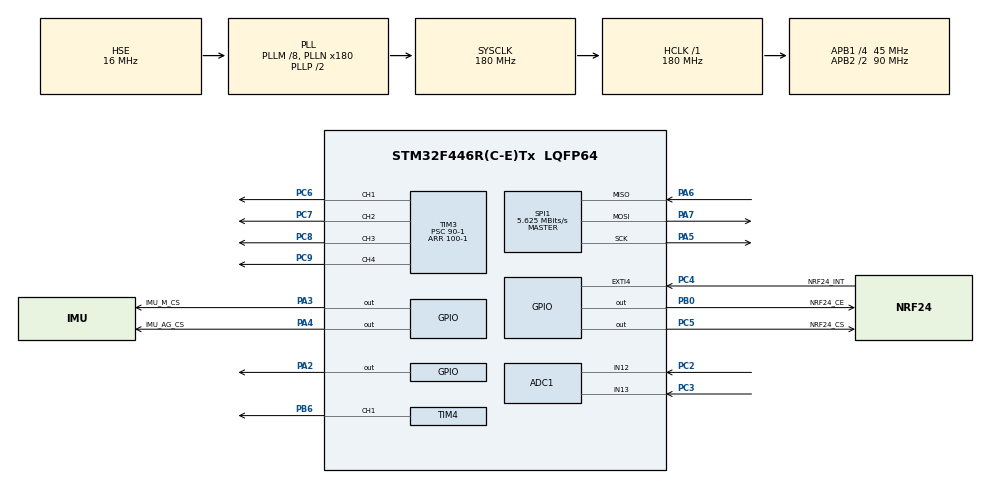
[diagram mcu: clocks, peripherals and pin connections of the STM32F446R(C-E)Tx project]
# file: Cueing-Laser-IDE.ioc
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ADC1.Channel-0\#ChannelRegularConversion=ADC_CHANNEL_12
ADC1.Channel-1\#ChannelRegularConversion=ADC_CHANNEL_13
ADC1.ContinuousConvMode=ENABLE
ADC1.DMAContinuousRequests=ENABLE
ADC1.NbrOfConversion=2
ADC1.NbrOfConversionFlag=1
ADC1.Rank-0\#ChannelRegularConversion=1
ADC1.Rank-1\#ChannelRegularConversion=2
ADC1.SamplingTime-0\#ChannelRegularConversion=ADC_SAMPLETIME_3CYCLES
ADC1.SamplingTime-1\#ChannelRegularConversion=ADC_SAMPLETIME_3CYCLES
ADC1.ScanConvMode=ENABLE
ADC1.master=1
Dma.ADC1.0.Direction=DMA_PERIPH_TO_MEMORY
Dma.ADC1.0.FIFOMode=DMA_FIFOMODE_DISABLE
Dma.ADC1.0.Instance=DMA2_Stream0
Dma.ADC1.0.MemDataAlignment=DMA_MDATAALIGN_WORD
Dma.ADC1.0.MemInc=DMA_MINC_ENABLE
Dma.ADC1.0.Mode=DMA_CIRCULAR
Dma.ADC1.0.PeriphDataAlignment=DMA_PDATAALIGN_WORD
Dma.ADC1.0.PeriphInc=DMA_PINC_DISABLE
Dma.ADC1.0.Priority=DMA_PRIORITY_VERY_HIGH
Dma.Request0=ADC1
Mcu.Family=STM32F4
Mcu.Name=STM32F446R(C-E)Tx
Mcu.Package=LQFP64
NVIC.DMA2_Stream0_IRQn=true\:0\:0\:false\:false\:true\:false\:true\:true
NVIC.PriorityGroup=NVIC_PRIORITYGROUP_0
NVIC.TIM2_IRQn=true\:0\:0\:false\:false\:true\:true\:true\:true
PA13.GPIO_Label=TMS
PA13.Mode=JTAG_5_pins
PA13.Signal=SYS_JTMS-SWDIO
PA14.GPIO_Label=TCK
PA14.Mode=JTAG_5_pins
PA14.Signal=SYS_JTCK-SWCLK
PA15.Mode=JTAG_5_pins
PA15.Signal=SYS_JTDI
PA2.Signal=GPIO_Output
PA3.GPIO_Label=IMU_M_CS
PA3.Signal=GPIO_Output
PA4.GPIO_Label=IMU_AG_CS
PA4.Signal=GPIO_Output
PA5.Mode=Full_Duplex_Master
PA5.Signal=SPI1_SCK
PA6.Mode=Full_Duplex_Master
PA6.Signal=SPI1_MISO
PA7.Mode=Full_Duplex_Master
PA7.Signal=SPI1_MOSI
PB0.GPIO_Label=NRF24_CE
PB0.GPIO_ModeDefaultOutputPP=GPIO_MODE_OUTPUT_PP
PB0.GPIO_PuPd=GPIO_PULLUP
PB0.Signal=GPIO_Output
PB3.GPIO_Label=SWO
PB3.Mode=JTAG_5_pins
PB3.Signal=SYS_JTDO-SWO
PB4.Mode=JTAG_5_pins
PB4.Signal=SYS_JTRST
PB6.Signal=S_TIM4_CH1
PC2.Signal=ADCx_IN12
PC3.Signal=ADCx_IN13
PC4.GPIO_Label=NRF24_INT
PC4.Signal=GPXTI4
PC5.GPIO_Label=NRF24_CS
PC5.Signal=GPIO_Output
PC6.Signal=S_TIM3_CH1
PC7.Signal=S_TIM3_CH2
PC8.Signal=S_TIM3_CH3
PC9.Signal=S_TIM3_CH4
PH0-OSC_IN.Mode=HSE-External-Oscillator
PH0-OSC_IN.Signal=RCC_OSC_IN
PH1-OSC_OUT.Mode=HSE-External-Oscillator
PH1-OSC_OUT.Signal=RCC_OSC_OUT
ProjectManager.HeapSize=0x200
ProjectManager.StackSize=0x400
ProjectManager.TargetToolchain=STM32CubeIDE
RCC.48MHZClocksFreq_Value=84000000
RCC.AHBFreq_Value=180000000
RCC.APB1CLKDivider=RCC_HCLK_DIV4
RCC.APB1Freq_Value=45000000
RCC.APB1TimFreq_Value=90000000
RCC.APB2CLKDivider=RCC_HCLK_DIV2
RCC.APB2Freq_Value=90000000
RCC.APB2TimFreq_Value=180000000
RCC.CortexFreq_Value=180000000
RCC.FLatency-AdvancedSettings=FLASH_LATENCY_5
RCC.HCLKFreq_Value=180000000
RCC.HSE_VALUE=16000000
RCC.HSI_VALUE=16000000
RCC.PLLM=8
RCC.PLLN=180
RCC.PLLQ=3
RCC.PLLSourceVirtual=RCC_PLLSOURCE_HSE
RCC.SYSCLKFreq_VALUE=180000000
RCC.SYSCLKSource=RCC_SYSCLKSOURCE_PLLCLK
RCC.USBFreq_Value=120000000
RCC.VCOOutputFreq_Value=360000000
SH.ADCx_IN12.0=ADC1_IN12,IN12
SH.ADCx_IN13.0=ADC1_IN13,IN13
SH.S_TIM3_CH1.0=TIM3_CH1,PWM Generation1 CH1
SH.S_TIM3_CH2.0=TIM3_CH2,PWM Generation2 CH2
SH.S_TIM3_CH3.0=TIM3_CH3,PWM Generation3 CH3
SH.S_TIM3_CH4.0=TIM3_CH4,PWM Generation4 CH4
SH.S_TIM4_CH1.0=TIM4_CH1,PWM Generation1 CH1
SPI1.BaudRatePrescaler=SPI_BAUDRATEPRESCALER_16
SPI1.CLKPhase=SPI_PHASE_2EDGE
SPI1.CLKPolarity=SPI_POLARITY_HIGH
SPI1.CalculateBaudRate=5.625 MBits/s
SPI1.Direction=SPI_DIRECTION_2LINES
SPI1.Mode=SPI_MODE_MASTER
SPI1.VirtualType=VM_MASTER
TIM2.Period=10000
TIM2.Prescaler=9000
TIM3.Channel-PWM\ Generation1\ CH1=TIM_CHANNEL_1
TIM3.Channel-PWM\ Generation2\ CH2=TIM_CHANNEL_2
TIM3.Channel-PWM\ Generation3\ CH3=TIM_CHANNEL_3
TIM3.Channel-PWM\ Generation4\ CH4=TIM_CHANNEL_4
TIM3.Period=100-1
TIM3.Prescaler=90-1
TIM4.Channel-PWM\ Generation1\ CH1=TIM_CHANNEL_1
TIM4.Period=200-1
TIM4.Prescaler=9000-1
VP_TIM2_VS_ClockSourceINT.Mode=Internal
VP_TIM3_VS_ClockSourceINT.Mode=Internal
VP_TIM4_VS_ClockSourceINT.Mode=Internal
board=NUCLEO-F446RE

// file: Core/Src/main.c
/* USER CODE BEGIN Header */
/**
  ******************************************************************************
  * @file           : main.c
  * @brief          : Main program body
  ******************************************************************************
  * @attention
  *
  * Copyright (c) 2024 STMicroelectronics.
  * All rights reserved.
  *
  * This software is licensed under terms that can be found in the LICENSE file
  * in the root directory of this software component.
  * If no LICENSE file comes with this software, it is provided AS-IS.
  *
  ******************************************************************************
  */
/* USER CODE END Header */
#include "main.h"

/* USER CODE BEGIN Includes */
#include "LSM9DS1.h"
#include "FIR_Filter.h"
#include "stdint.h"
#include "string.h"
#include "NRF24L01.h"
#include "Driver.h"
#include "Servo.h"
#include "kalman_filter.h"
/* USER CODE END Includes */

ADC_HandleTypeDef hadc1;
DMA_HandleTypeDef hdma_adc1;

SPI_HandleTypeDef hspi1;

TIM_HandleTypeDef htim2;
TIM_HandleTypeDef htim3;
TIM_HandleTypeDef htim4;

/* USER CODE BEGIN PV */
uint8_t who_am_i;
uint8_t reg;
uint32_t analog[2];
//gyro_accel_data_t data;
FIR_Filter low_pass_filter;
data_t pData;
float Accelerometer[3];
float GyroScope[3];
float MotionCapture[3];
float Filter_Data[3];
float Roll, Pitch;
float dt;
char buffer[30];
char Tx_Address[6] = {0xEE, 0xFE, 0xAE,0xBE, 0xCE, 0xDE};
uint32_t T0, T1;
uint8_t timeFoG;
int callib = 0;

/* USER CODE END PV */

void SystemClock_Config(void);
static void MX_GPIO_Init(void);
static void MX_DMA_Init(void);
static void MX_SPI1_Init(void);
static void MX_TIM3_Init(void);
static void MX_TIM4_Init(void);
static void MX_ADC1_Init(void);
static void MX_TIM2_Init(void);

/* USER CODE BEGIN 0 */

void HAL_ADC_ConvCpltCallback(ADC_HandleTypeDef* hadc)
{
  Laser_Brightness(MAX_BEAM);
//  Vibrator_Control(STRONG);
//  LSM9DS1_Read(&hspi1, &pData);
//  Vibrator_Control(STRONG);
  MotionCapture[0] = pData.Data_t.Ax;
  MotionCapture[1] = pData.Data_t.Ay;
  MotionCapture[2] = pData.Data_t.Az;

}

void HAL_TIM_PeriodElapsedCallback(TIM_HandleTypeDef *htim)
{
  if(htim->Instance == TIM2)
  {
    if(analog[0] < 1000)
    {
      timeFoG++;

      if(timeFoG >= 3 && timeFoG < 5 ) Vibrator_Control(WEAK);
      else if(timeFoG >= 5 && timeFoG < 8) Vibrator_Control(MEDIUM);
      else if (timeFoG >= 8) Vibrator_Control(STRONG);
    }
    else
    {
      Vibrator_Control(FOG_NOT_DETECTED);
      timeFoG = 0;
    }
  }
}
/* USER CODE END 0 */

int main(void)
{

  /* MCU Configuration--------------------------------------------------------*/

  /* Reset of all peripherals, Initializes the Flash interface and the Systick. */
  HAL_Init();

  /* Configure the system clock */
  SystemClock_Config();

  /* Initialize all configured peripherals */
  MX_GPIO_Init();
  MX_DMA_Init();
  MX_SPI1_Init();
  MX_TIM3_Init();
  MX_TIM4_Init();
  MX_ADC1_Init();
  MX_TIM2_Init();
  /* USER CODE BEGIN 2 */
  LSM9DS1_Init(&hspi1);
  HAL_TIM_Base_Start_IT(&htim2);
  HAL_ADC_Start_DMA(&hadc1, analog, 2);
  /* USER CODE END 2 */

  /* Infinite loop */
  while (1)
  {

  }
}

void SystemClock_Config(void)
{
  RCC_OscInitTypeDef RCC_OscInitStruct = {0};
  RCC_ClkInitTypeDef RCC_ClkInitStruct = {0};

  /** Configure the main internal regulator output voltage
  */
  __HAL_RCC_PWR_CLK_ENABLE();
  __HAL_PWR_VOLTAGESCALING_CONFIG(PWR_REGULATOR_VOLTAGE_SCALE1);

  /** Initializes the RCC Oscillators according to the specified parameters
  * in the RCC_OscInitTypeDef structure.
  */
  RCC_OscInitStruct.OscillatorType = RCC_OSCILLATORTYPE_HSE;
  RCC_OscInitStruct.HSEState = RCC_HSE_ON;
  RCC_OscInitStruct.PLL.PLLState = RCC_PLL_ON;
  RCC_OscInitStruct.PLL.PLLSource = RCC_PLLSOURCE_HSE;
  RCC_OscInitStruct.PLL.PLLM = 8;
  RCC_OscInitStruct.PLL.PLLN = 180;
  RCC_OscInitStruct.PLL.PLLP = RCC_PLLP_DIV2;
  RCC_OscInitStruct.PLL.PLLQ = 3;
  RCC_OscInitStruct.PLL.PLLR = 2;
  if (HAL_RCC_OscConfig(&RCC_OscInitStruct) != HAL_OK)
  {
    Error_Handler();
  }

  /** Activate the Over-Drive mode
  */
  if (HAL_PWREx_EnableOverDrive() != HAL_OK)
  {
    Error_Handler();
  }

  /** Initializes the CPU, AHB and APB buses clocks
  */
  RCC_ClkInitStruct.ClockType = RCC_CLOCKTYPE_HCLK|RCC_CLOCKTYPE_SYSCLK
                              |RCC_CLOCKTYPE_PCLK1|RCC_CLOCKTYPE_PCLK2;
  RCC_ClkInitStruct.SYSCLKSource = RCC_SYSCLKSOURCE_PLLCLK;
  RCC_ClkInitStruct.AHBCLKDivider = RCC_SYSCLK_DIV1;
  RCC_ClkInitStruct.APB1CLKDivider = RCC_HCLK_DIV4;
  RCC_ClkInitStruct.APB2CLKDivider = RCC_HCLK_DIV2;

  if (HAL_RCC_ClockConfig(&RCC_ClkInitStruct, FLASH_LATENCY_5) != HAL_OK)
  {
    Error_Handler();
  }
}

static void MX_ADC1_Init(void)
{

  ADC_ChannelConfTypeDef sConfig = {0};

  /** Configure the global features of the ADC (Clock, Resolution, Data Alignment and number of conversion)
  */
  hadc1.Instance = ADC1;
  hadc1.Init.ClockPrescaler = ADC_CLOCK_SYNC_PCLK_DIV4;
  hadc1.Init.Resolution = ADC_RESOLUTION_12B;
  hadc1.Init.ScanConvMode = ENABLE;
  hadc1.Init.ContinuousConvMode = ENABLE;
  hadc1.Init.DiscontinuousConvMode = DISABLE;
  hadc1.Init.ExternalTrigConvEdge = ADC_EXTERNALTRIGCONVEDGE_NONE;
  hadc1.Init.ExternalTrigConv = ADC_SOFTWARE_START;
  hadc1.Init.DataAlign = ADC_DATAALIGN_RIGHT;
  hadc1.Init.NbrOfConversion = 2;
  hadc1.Init.DMAContinuousRequests = ENABLE;
  hadc1.Init.EOCSelection = ADC_EOC_SINGLE_CONV;
  if (HAL_ADC_Init(&hadc1) != HAL_OK)
  {
    Error_Handler();
  }

  /** Configure for the selected ADC regular channel its corresponding rank in the sequencer and its sample time.
  */
  sConfig.Channel = ADC_CHANNEL_12;
  sConfig.Rank = 1;
  sConfig.SamplingTime = ADC_SAMPLETIME_3CYCLES;
  if (HAL_ADC_ConfigChannel(&hadc1, &sConfig) != HAL_OK)
  {
    Error_Handler();
  }

  /** Configure for the selected ADC regular channel its corresponding rank in the sequencer and its sample time.
  */
  sConfig.Channel = ADC_CHANNEL_13;
  sConfig.Rank = 2;
  if (HAL_ADC_ConfigChannel(&hadc1, &sConfig) != HAL_OK)
  {
    Error_Handler();
  }

}

static void MX_SPI1_Init(void)
{

  /* SPI1 parameter configuration*/
  hspi1.Instance = SPI1;
  hspi1.Init.Mode = SPI_MODE_MASTER;
  hspi1.Init.Direction = SPI_DIRECTION_2LINES;
  hspi1.Init.DataSize = SPI_DATASIZE_8BIT;
  hspi1.Init.CLKPolarity = SPI_POLARITY_HIGH;
  hspi1.Init.CLKPhase = SPI_PHASE_2EDGE;
  hspi1.Init.NSS = SPI_NSS_SOFT;
  hspi1.Init.BaudRatePrescaler = SPI_BAUDRATEPRESCALER_16;
  hspi1.Init.FirstBit = SPI_FIRSTBIT_MSB;
  hspi1.Init.TIMode = SPI_TIMODE_DISABLE;
  hspi1.Init.CRCCalculation = SPI_CRCCALCULATION_DISABLE;
  hspi1.Init.CRCPolynomial = 10;
  if (HAL_SPI_Init(&hspi1) != HAL_OK)
  {
    Error_Handler();
  }

}

static void MX_TIM2_Init(void)
{

  TIM_ClockConfigTypeDef sClockSourceConfig = {0};
  TIM_MasterConfigTypeDef sMasterConfig = {0};

  htim2.Instance = TIM2;
  htim2.Init.Prescaler = 9000;
  htim2.Init.CounterMode = TIM_COUNTERMODE_UP;
  htim2.Init.Period = 10000;
  htim2.Init.ClockDivision = TIM_CLOCKDIVISION_DIV1;
  htim2.Init.AutoReloadPreload = TIM_AUTORELOAD_PRELOAD_DISABLE;
  if (HAL_TIM_Base_Init(&htim2) != HAL_OK)
  {
    Error_Handler();
  }
  sClockSourceConfig.ClockSource = TIM_CLOCKSOURCE_INTERNAL;
  if (HAL_TIM_ConfigClockSource(&htim2, &sClockSourceConfig) != HAL_OK)
  {
    Error_Handler();
  }
  sMasterConfig.MasterOutputTrigger = TIM_TRGO_RESET;
  sMasterConfig.MasterSlaveMode = TIM_MASTERSLAVEMODE_DISABLE;
  if (HAL_TIMEx_MasterConfigSynchronization(&htim2, &sMasterConfig) != HAL_OK)
  {
    Error_Handler();
  }

}

static void MX_TIM3_Init(void)
{

  TIM_ClockConfigTypeDef sClockSourceConfig = {0};
  TIM_MasterConfigTypeDef sMasterConfig = {0};
  TIM_OC_InitTypeDef sConfigOC = {0};

  htim3.Instance = TIM3;
  htim3.Init.Prescaler = 90-1;
  htim3.Init.CounterMode = TIM_COUNTERMODE_UP;
  htim3.Init.Period = 100-1;
  htim3.Init.ClockDivision = TIM_CLOCKDIVISION_DIV1;
  htim3.Init.AutoReloadPreload = TIM_AUTORELOAD_PRELOAD_DISABLE;
  if (HAL_TIM_Base_Init(&htim3) != HAL_OK)
  {
    Error_Handler();
  }
  sClockSourceConfig.ClockSource = TIM_CLOCKSOURCE_INTERNAL;
  if (HAL_TIM_ConfigClockSource(&htim3, &sClockSourceConfig) != HAL_OK)
  {
    Error_Handler();
  }
  if (HAL_TIM_PWM_Init(&htim3) != HAL_OK)
  {
    Error_Handler();
  }
  sMasterConfig.MasterOutputTrigger = TIM_TRGO_RESET;
  sMasterConfig.MasterSlaveMode = TIM_MASTERSLAVEMODE_DISABLE;
  if (HAL_TIMEx_MasterConfigSynchronization(&htim3, &sMasterConfig) != HAL_OK)
  {
    Error_Handler();
  }
  sConfigOC.OCMode = TIM_OCMODE_PWM1;
  sConfigOC.Pulse = 0;
  sConfigOC.OCPolarity = TIM_OCPOLARITY_HIGH;
  sConfigOC.OCFastMode = TIM_OCFAST_DISABLE;
  if (HAL_TIM_PWM_ConfigChannel(&htim3, &sConfigOC, TIM_CHANNEL_1) != HAL_OK)
  {
    Error_Handler();
  }
  if (HAL_TIM_PWM_ConfigChannel(&htim3, &sConfigOC, TIM_CHANNEL_2) != HAL_OK)
  {
    Error_Handler();
  }
  if (HAL_TIM_PWM_ConfigChannel(&htim3, &sConfigOC, TIM_CHANNEL_3) != HAL_OK)
  {
    Error_Handler();
  }
  if (HAL_TIM_PWM_ConfigChannel(&htim3, &sConfigOC, TIM_CHANNEL_4) != HAL_OK)
  {
    Error_Handler();
  }
  HAL_TIM_MspPostInit(&htim3);

}

static void MX_TIM4_Init(void)
{

  TIM_ClockConfigTypeDef sClockSourceConfig = {0};
  TIM_MasterConfigTypeDef sMasterConfig = {0};
  TIM_OC_InitTypeDef sConfigOC = {0};

  htim4.Instance = TIM4;
  htim4.Init.Prescaler = 9000-1;
  htim4.Init.CounterMode = TIM_COUNTERMODE_UP;
  htim4.Init.Period = 200-1;
  htim4.Init.ClockDivision = TIM_CLOCKDIVISION_DIV1;
  htim4.Init.AutoReloadPreload = TIM_AUTORELOAD_PRELOAD_DISABLE;
  if (HAL_TIM_Base_Init(&htim4) != HAL_OK)
  {
    Error_Handler();
  }
  sClockSourceConfig.ClockSource = TIM_CLOCKSOURCE_INTERNAL;
  if (HAL_TIM_ConfigClockSource(&htim4, &sClockSourceConfig) != HAL_OK)
  {
    Error_Handler();
  }
  if (HAL_TIM_PWM_Init(&htim4) != HAL_OK)
  {
    Error_Handler();
  }
  sMasterConfig.MasterOutputTrigger = TIM_TRGO_RESET;
  sMasterConfig.MasterSlaveMode = TIM_MASTERSLAVEMODE_DISABLE;
  if (HAL_TIMEx_MasterConfigSynchronization(&htim4, &sMasterConfig) != HAL_OK)
  {
    Error_Handler();
  }
  sConfigOC.OCMode = TIM_OCMODE_PWM1;
  sConfigOC.Pulse = 0;
  sConfigOC.OCPolarity = TIM_OCPOLARITY_HIGH;
  sConfigOC.OCFastMode = TIM_OCFAST_DISABLE;
  if (HAL_TIM_PWM_ConfigChannel(&htim4, &sConfigOC, TIM_CHANNEL_1) != HAL_OK)
  {
    Error_Handler();
  }
  HAL_TIM_MspPostInit(&htim4);

}

static void MX_DMA_Init(void)
{

  /* DMA controller clock enable */
  __HAL_RCC_DMA2_CLK_ENABLE();

  /* DMA interrupt init */
  /* DMA2_Stream0_IRQn interrupt configuration */
  HAL_NVIC_SetPriority(DMA2_Stream0_IRQn, 0, 0);
  HAL_NVIC_EnableIRQ(DMA2_Stream0_IRQn);

}

static void MX_GPIO_Init(void)
{
  GPIO_InitTypeDef GPIO_InitStruct = {0};

  /* GPIO Ports Clock Enable */
  __HAL_RCC_GPIOH_CLK_ENABLE();
  __HAL_RCC_GPIOC_CLK_ENABLE();
  __HAL_RCC_GPIOA_CLK_ENABLE();
  __HAL_RCC_GPIOB_CLK_ENABLE();

  /*Configure GPIO pin Output Level */
  HAL_GPIO_WritePin(GPIOA, GPIO_PIN_2|IMU_M_CS_Pin|IMU_AG_CS_Pin, GPIO_PIN_RESET);

  /*Configure GPIO pin Output Level */
  HAL_GPIO_WritePin(NRF24_CS_GPIO_Port, NRF24_CS_Pin, GPIO_PIN_RESET);

  /*Configure GPIO pin Output Level */
  HAL_GPIO_WritePin(NRF24_CE_GPIO_Port, NRF24_CE_Pin, GPIO_PIN_RESET);

  /*Configure GPIO pins : PA2 IMU_M_CS_Pin IMU_AG_CS_Pin */
  GPIO_InitStruct.Pin = GPIO_PIN_2|IMU_M_CS_Pin|IMU_AG_CS_Pin;
  GPIO_InitStruct.Mode = GPIO_MODE_OUTPUT_PP;
  GPIO_InitStruct.Pull = GPIO_NOPULL;
  GPIO_InitStruct.Speed = GPIO_SPEED_FREQ_LOW;
  HAL_GPIO_Init(GPIOA, &GPIO_InitStruct);

  /*Configure GPIO pin : NRF24_INT_Pin */
  GPIO_InitStruct.Pin = NRF24_INT_Pin;
  GPIO_InitStruct.Mode = GPIO_MODE_IT_RISING;
  GPIO_InitStruct.Pull = GPIO_NOPULL;
  HAL_GPIO_Init(NRF24_INT_GPIO_Port, &GPIO_InitStruct);

  /*Configure GPIO pin : NRF24_CS_Pin */
  GPIO_InitStruct.Pin = NRF24_CS_Pin;
  GPIO_InitStruct.Mode = GPIO_MODE_OUTPUT_PP;
  GPIO_InitStruct.Pull = GPIO_NOPULL;
  GPIO_InitStruct.Speed = GPIO_SPEED_FREQ_LOW;
  HAL_GPIO_Init(NRF24_CS_GPIO_Port, &GPIO_InitStruct);

  /*Configure GPIO pin : NRF24_CE_Pin */
  GPIO_InitStruct.Pin = NRF24_CE_Pin;
  GPIO_InitStruct.Mode = GPIO_MODE_OUTPUT_PP;
  GPIO_InitStruct.Pull = GPIO_PULLUP;
  GPIO_InitStruct.Speed = GPIO_SPEED_FREQ_LOW;
  HAL_GPIO_Init(NRF24_CE_GPIO_Port, &GPIO_InitStruct);

}

void Error_Handler(void)
{
  __disable_irq();
  while (1)
  {
  }
}
